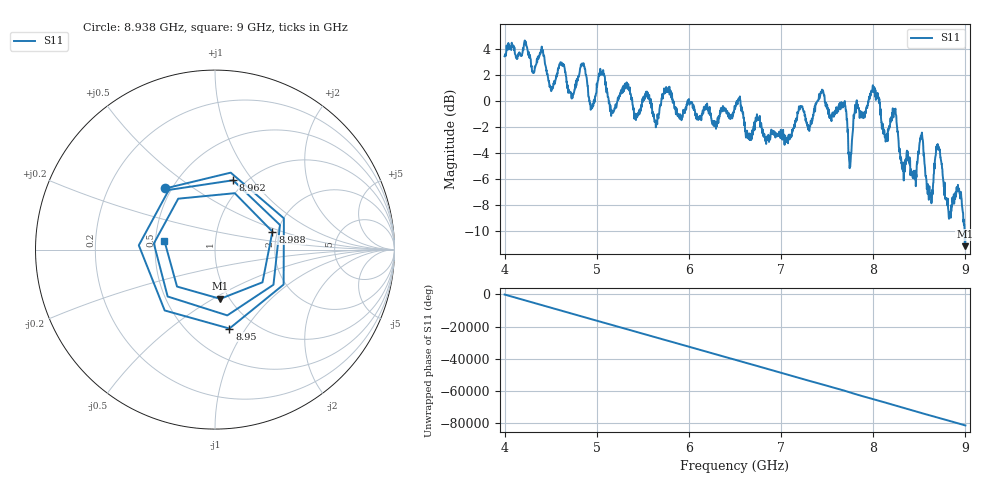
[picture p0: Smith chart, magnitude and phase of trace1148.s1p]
! Created with skrf 1.8.0 (http://scikit-rf.org).
# Hz S RI R 50.0
!freq ReS11 ImS11
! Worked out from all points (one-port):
!   1601 points, 4 GHz to 9 GHz, reference 50 ohm
!   lowest |S11| = -11.2 dB at 8.994 GHz (marker M1), VSWR 1.76, Z = 45.4 - j27 ohm
!   |S11| at or under -10 dB: 8.991311 GHz to end of sweep
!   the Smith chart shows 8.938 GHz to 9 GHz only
!   S11 on the Smith chart (normalised r, x): 8.938 GHz: 0.46, +0.39; 8.95 GHz: 0.77, -0.85; 8.962 GHz: 0.88, +0.81; 8.988 GHz: 1.88, +0.42; 9 GHz: 0.56, +0.06
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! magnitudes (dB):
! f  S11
! 4 GHz  3.5
! 4.625 GHz  2.8
! 4.728 GHz  0.2
! 4.853 GHz  2.7
! 4.944 GHz  -0.6
! 5.047 GHz  2.0
! 5.162 GHz  -0.7
! 5.25 GHz  0.4
! 5.875 GHz  -0.9
! 6.5 GHz  -0.6
! 7.125 GHz  -2.2
! 7.447 GHz  0.9
! 7.684 GHz  -0.2
! 7.75 GHz  -5.1
! 7.812 GHz  -0.9
! 8 GHz  0.7
! 8.375 GHz  -4.1
! 8.444 GHz  -5.8
! 8.525 GHz  -2.6
! 8.622 GHz  -7.1
! 8.706 GHz  -3.7
! 8.822 GHz  -9.1
! 8.938 GHz  -7.2
! 8.95 GHz  -7.0
! 8.962 GHz  -8.0
! 8.988 GHz  -9.5
! 8.994 GHz  -11.2
! 9 GHz  -10.9
